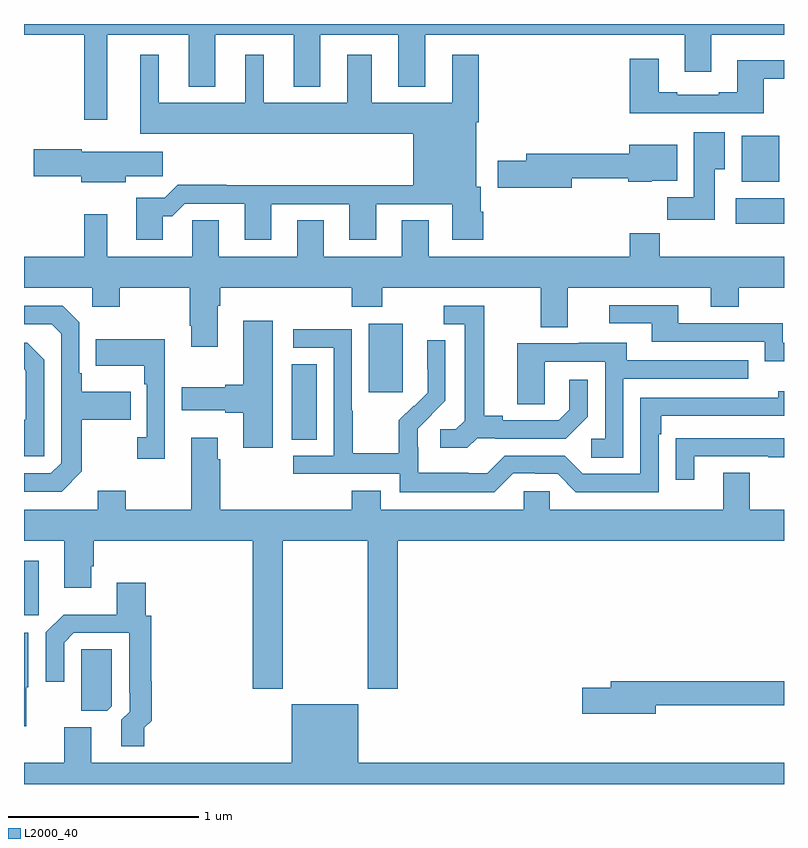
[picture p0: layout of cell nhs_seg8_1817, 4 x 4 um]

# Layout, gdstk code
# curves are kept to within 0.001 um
import gdstk
lib = gdstk.Library(unit=1e-6, precision=1e-09)
def R(c, l, rs):  # rectangles x0, y0, x1, y1
    for r in rs: c.add(gdstk.rectangle(r[:2], r[2:], *l))
def P(c, l, *ps):  # polygons
    for p in ps: c.add(gdstk.Polygon(p, *l))
L2000_40 = (2000, 40)

nhs_seg8_1817 = lib.new_cell('nhs_seg8_1817')
R(nhs_seg8_1817, L2000_40, [(227,1102.788,227.077,1103.074), (228.41,1103.713,228.541,1104.11), (228.815,1103.961,228.994,1104.322), (230.745,1104.848,231,1104.982), (230.777,1105.07,230.974,1105.312)])
P(nhs_seg8_1817, L2000_40, [(227.437,1105.844),(227.867,1105.844),(227.867,1105.571),(228.007,1105.571),(228.007,1105.844),(228.419,1105.844),(228.419,1105.571),(228.559,1105.571),(228.559,1105.844),(228.971,1105.844),(228.971,1105.571),(229.111,1105.571),(229.111,1105.844),(230.477,1105.844),(230.477,1105.65),(230.617,1105.65),(230.617,1105.844),(231,1105.844),(231,1105.9),(227,1105.9),(227,1105.844),(227.316,1105.844),(227.316,1105.395),(227.437,1105.395)],
  [(227.731,1104.887),(227.78,1104.887),(227.847,1104.954),(228.161,1104.954),(228.161,1104.765),(228.301,1104.765),(228.301,1104.951),(228.713,1104.951),(228.713,1104.765),(228.853,1104.765),(228.853,1104.951),(229.253,1104.951),(229.253,1104.765),(229.418,1104.765),(229.418,1104.911),(229.405,1104.911),(229.405,1105.044),(229.381,1105.044),(229.381,1105.382),(229.394,1105.382),(229.394,1105.738),(229.253,1105.738),(229.253,1105.486),(228.829,1105.486),(228.829,1105.738),(228.701,1105.738),(228.701,1105.486),(228.262,1105.486),(228.262,1105.738),(228.164,1105.738),(228.164,1105.486),(227.71,1105.486),(227.71,1105.738),(227.612,1105.738),(227.612,1105.322),(229.049,1105.322),(229.049,1105.052),(228.065,1105.052),(228.065,1105.055),(227.81,1105.055),(227.74,1104.985),(227.591,1104.985),(227.591,1104.765),(227.731,1104.765)],
  [(230.429,1105.431),(230.893,1105.431),(230.893,1105.611),(231,1105.611),(231,1105.708),(230.753,1105.708),(230.753,1105.54),(230.657,1105.54),(230.657,1105.527),(230.437,1105.527),(230.437,1105.54),(230.341,1105.54),(230.341,1105.717),(230.189,1105.717),(230.189,1105.43),(230.429,1105.43)],
  [(230.635,1105.136),(230.689,1105.136),(230.689,1105.33),(230.525,1105.33),(230.525,1104.988),(230.386,1104.988),(230.386,1104.87),(230.635,1104.87)],
  [(229.882,1105.089),(230.179,1105.089),(230.179,1105.07),(230.304,1105.07),(230.304,1105.076),(230.437,1105.076),(230.437,1105.264),(230.186,1105.264),(230.186,1105.217),(229.643,1105.217),(229.643,1105.181),(229.494,1105.181),(229.494,1105.039),(229.882,1105.039)],
  [(227.536,1105.099),(227.731,1105.099),(227.731,1105.228),(227.304,1105.228),(227.304,1105.241),(227.052,1105.241),(227.052,1105.099),(227.3,1105.099),(227.3,1105.067),(227.536,1105.067)],
  [(228.019,1104.416),(228.032,1104.416),(228.032,1104.512),(228.725,1104.512),(228.725,1104.413),(228.885,1104.413),(228.885,1104.512),(229.721,1104.512),(229.721,1104.304),(229.861,1104.304),(229.861,1104.512),(230.615,1104.512),(230.615,1104.413),(230.763,1104.413),(230.763,1104.512),(231,1104.512),(231,1104.676),(230.345,1104.676),(230.345,1104.8),(230.189,1104.8),(230.189,1104.676),(229.129,1104.676),(229.129,1104.866),(228.989,1104.866),(228.989,1104.676),(228.577,1104.676),(228.577,1104.866),(228.437,1104.866),(228.437,1104.676),(228.025,1104.676),(228.025,1104.866),(227.886,1104.866),(227.886,1104.676),(227.437,1104.676),(227.437,1104.898),(227.316,1104.898),(227.316,1104.676),(227,1104.676),(227,1104.512),(227.358,1104.512),(227.358,1104.413),(227.505,1104.413),(227.505,1104.512),(227.872,1104.512),(227.872,1104.313),(227.879,1104.313),(227.879,1104.201),(228.019,1104.201)],
  [(231,1104.222),(230.994,1104.222),(230.994,1104.324),(230.443,1104.324),(230.443,1104.42),(230.079,1104.42),(230.079,1104.324),(230.303,1104.324),(230.303,1104.228),(230.898,1104.228),(230.898,1104.125),(231,1104.125)],
  [(227.305,1103.545),(227.305,1103.818),(227.561,1103.818),(227.561,1103.965),(227.305,1103.965),(227.305,1104.061),(227.292,1104.061),(227.292,1104.33),(227.205,1104.417),(227,1104.417),(227,1104.321),(227.145,1104.321),(227.196,1104.27),(227.196,1103.589),(227.142,1103.535),(227,1103.535),(227,1103.439),(227.199,1103.439)],
  [(229.386,1103.721),(229.48,1103.721),(229.48,1103.718),(229.852,1103.718),(229.968,1103.834),(229.968,1104.028),(229.871,1104.028),(229.871,1103.871),(229.814,1103.814),(229.519,1103.814),(229.519,1103.837),(229.423,1103.837),(229.423,1104.417),(229.209,1104.417),(229.209,1104.321),(229.319,1104.321),(229.319,1103.813),(229.272,1103.766),(229.191,1103.766),(229.191,1103.669),(229.334,1103.669)],
  [(228.31,1104.337),(228.155,1104.337),(228.155,1104.002),(228.059,1104.002),(228.059,1103.989),(227.829,1103.989),(227.829,1103.867),(228.059,1103.867),(228.059,1103.855),(228.155,1103.855),(228.155,1103.67),(228.31,1103.67)],
  [(229.575,1103.535),(229.691,1103.535),(229.691,1103.532),(229.809,1103.532),(229.905,1103.436),(230.34,1103.436),(230.34,1103.741),(230.353,1103.741),(230.353,1103.838),(231,1103.838),(231,1103.968),(230.969,1103.968),(230.969,1103.934),(230.244,1103.934),(230.244,1103.532),(229.941,1103.532),(229.845,1103.628),(229.53,1103.628),(229.437,1103.535),(229.337,1103.535),(229.337,1103.539),(229.074,1103.539),(229.074,1103.673),(229.072,1103.673),(229.072,1103.77),(229.218,1103.918),(229.218,1104.236),(229.122,1104.236),(229.122,1104.082),(229.124,1104.082),(229.124,1103.96),(229.053,1103.889),(229.05,1103.892),(228.973,1103.815),(228.973,1103.641),(228.729,1103.641),(228.729,1103.864),(228.726,1103.864),(228.726,1104.294),(228.417,1104.294),(228.417,1104.195),(228.63,1104.195),(228.63,1103.628),(228.417,1103.628),(228.417,1103.532),(228.978,1103.532),(228.978,1103.435),(229.475,1103.435)],
  [(227.742,1104.241),(227.377,1104.241),(227.377,1104.101),(227.634,1104.101),(227.634,1104.005),(227.646,1104.005),(227.646,1103.726),(227.595,1103.726),(227.595,1103.613),(227.742,1103.613)],
  [(230.154,1104.033),(230.813,1104.033),(230.813,1104.129),(230.173,1104.129),(230.173,1104.223),(229.919,1104.223),(229.919,1104.219),(229.595,1104.219),(229.595,1103.899),(229.74,1103.899),(229.74,1104.123),(230.058,1104.123),(230.058,1103.718),(229.986,1103.718),(229.986,1103.617),(230.154,1103.617)],
  [(227.106,1104.132),(227.016,1104.222),(227,1104.222),(227,1104.082),(227.01,1104.072),(227.01,1103.818),(227,1103.818),(227,1103.625),(227.106,1103.625)],
  [(228.363,1103.18),(228.808,1103.18),(228.808,1102.401),(228.968,1102.401),(228.968,1103.18),(231,1103.18),(231,1103.344),(230.821,1103.344),(230.821,1103.539),(230.681,1103.539),(230.681,1103.344),(229.767,1103.344),(229.767,1103.442),(229.629,1103.442),(229.629,1103.344),(228.877,1103.344),(228.877,1103.443),(228.725,1103.443),(228.725,1103.344),(228.032,1103.344),(228.032,1103.609),(228.019,1103.609),(228.019,1103.722),(227.879,1103.722),(227.879,1103.344),(227.535,1103.344),(227.535,1103.443),(227.387,1103.443),(227.387,1103.344),(227,1103.344),(227,1103.18),(227.213,1103.18),(227.213,1102.932),(227.353,1102.932),(227.353,1103.047),(227.366,1103.047),(227.366,1103.18),(228.203,1103.18),(228.203,1102.401),(228.363,1102.401)],
  [(230.527,1103.625),(230.917,1103.625),(230.917,1103.62),(231,1103.62),(231,1103.721),(230.533,1103.721),(230.533,1103.72),(230.431,1103.72),(230.431,1103.502),(230.527,1103.502)],
  [(227.633,1102.195),(227.672,1102.234),(227.672,1102.442),(227.669,1102.442),(227.669,1102.785),(227.642,1102.785),(227.642,1102.96),(227.489,1102.96),(227.489,1102.792),(227.209,1102.792),(227.115,1102.698),(227.115,1102.437),(227.211,1102.437),(227.211,1102.644),(227.262,1102.695),(227.553,1102.695),(227.553,1102.381),(227.556,1102.381),(227.556,1102.281),(227.513,1102.238),(227.513,1102.098),(227.633,1102.098)],
  [(227.011,1102.41),(227.023,1102.41),(227.023,1102.696),(227,1102.696),(227,1102.203),(227.011,1102.203)],
  [(227.463,1102.308),(227.463,1102.61),(227.301,1102.61),(227.301,1102.499),(227.3,1102.499),(227.3,1102.285),(227.439,1102.285)],
  [(230.326,1102.314),(231,1102.314),(231,1102.442),(230.087,1102.442),(230.087,1102.406),(229.938,1102.406),(229.938,1102.271),(230.326,1102.271)],
  [(231,1102.012),(228.76,1102.012),(228.76,1102.321),(228.41,1102.321),(228.41,1102.012),(227.353,1102.012),(227.353,1102.2),(227.213,1102.2),(227.213,1102.012),(227,1102.012),(227,1101.9),(231,1101.9)])

lib.write_gds('nhs_seg8_1817.gds')
